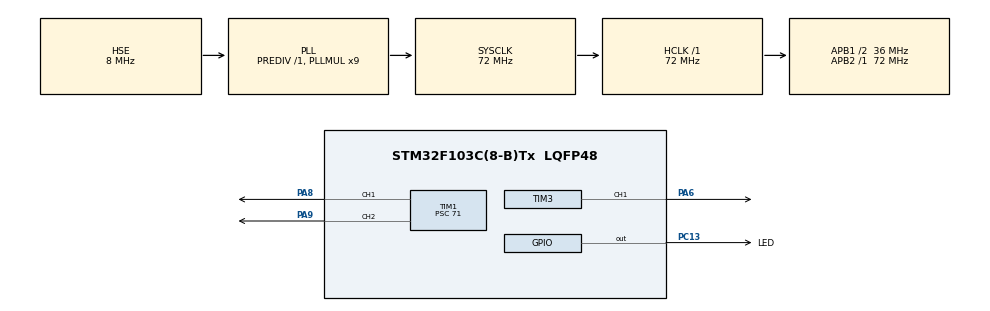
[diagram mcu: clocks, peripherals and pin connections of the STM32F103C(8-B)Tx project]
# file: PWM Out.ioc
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Mcu.Family=STM32F1
Mcu.Name=STM32F103C(8-B)Tx
Mcu.Package=LQFP48
NVIC.PriorityGroup=NVIC_PRIORITYGROUP_4
NVIC.TIM2_IRQn=true\:15\:0\:false\:false\:true\:false\:true\:true
NVIC.TimeBase=TIM2_IRQn
NVIC.TimeBaseIP=TIM2
PA6.Signal=S_TIM3_CH1
PA8.Signal=S_TIM1_CH1
PA9.Signal=S_TIM1_CH2
PC13-TAMPER-RTC.GPIO_Label=LED
PC13-TAMPER-RTC.Signal=GPIO_Output
PD0-OSC_IN.Mode=HSE-External-Oscillator
PD0-OSC_IN.Signal=RCC_OSC_IN
PD1-OSC_OUT.Mode=HSE-External-Oscillator
PD1-OSC_OUT.Signal=RCC_OSC_OUT
ProjectManager.HeapSize=0x200
ProjectManager.StackSize=0x400
ProjectManager.TargetToolchain=STM32CubeIDE
RCC.AHBFreq_Value=72000000
RCC.APB1CLKDivider=RCC_HCLK_DIV2
RCC.APB1Freq_Value=36000000
RCC.APB1TimFreq_Value=72000000
RCC.APB2Freq_Value=72000000
RCC.APB2TimFreq_Value=72000000
RCC.HCLKFreq_Value=72000000
RCC.PLLMUL=RCC_PLL_MUL9
RCC.PLLSourceVirtual=RCC_PLLSOURCE_HSE
RCC.SYSCLKFreq_VALUE=72000000
RCC.SYSCLKSource=RCC_SYSCLKSOURCE_PLLCLK
RCC.USBFreq_Value=72000000
SH.S_TIM1_CH1.0=TIM1_CH1,PWM Generation1 CH1
SH.S_TIM1_CH2.0=TIM1_CH2,PWM Generation2 CH2
SH.S_TIM3_CH1.0=TIM3_CH1,PWM Generation1 CH1
TIM1.Channel-PWM\ Generation1\ CH1=TIM_CHANNEL_1
TIM1.Channel-PWM\ Generation2\ CH2=TIM_CHANNEL_2
TIM1.Period=2499
TIM1.Prescaler=71
TIM1.Pulse-PWM\ Generation1\ CH1=1249
TIM1.Pulse-PWM\ Generation2\ CH2=600
TIM3.Channel-PWM\ Generation1\ CH1=TIM_CHANNEL_1
TIM3.Period=999
TIM3.Prescaler=71
TIM3.Pulse-PWM\ Generation1\ CH1=444
VP_SYS_VS_tim2.Mode=TIM2
board=custom

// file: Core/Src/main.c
/* USER CODE BEGIN Header */
/**
  ******************************************************************************
  * @file           : main.c
  * @brief          : Main program body
  ******************************************************************************
  * @attention
  *
  * Copyright (c) 2022 STMicroelectronics.
  * All rights reserved.
  *
  * This software is licensed under terms that can be found in the LICENSE file
  * in the root directory of this software component.
  * If no LICENSE file comes with this software, it is provided AS-IS.
  *
  ******************************************************************************
  */
/* USER CODE END Header */
#include "main.h"
#include "tim.h"
#include "gpio.h"

void SystemClock_Config(void);

int main(void)
{
  /* USER CODE BEGIN 1 */
	TIM_OC_InitTypeDef sConfigOC = {0},sConfigOC2 = {0};
	uint16_t dutycycle;
	int16_t offset=5;
	uint8_t updowm=1;
  /* USER CODE END 1 */

  /* MCU Configuration--------------------------------------------------------*/

  /* Reset of all peripherals, Initializes the Flash interface and the Systick. */
  HAL_Init();

  /* Configure the system clock */
  SystemClock_Config();

  /* Initialize all configured peripherals */
  MX_GPIO_Init();
  MX_TIM1_Init();
  MX_TIM3_Init();
  /* USER CODE BEGIN 2 */
  dutycycle = 50;
  sConfigOC.OCMode = TIM_OCMODE_PWM1;
  sConfigOC.Pulse = (2499*dutycycle)/100;
  sConfigOC.OCPolarity = TIM_OCPOLARITY_HIGH;
  sConfigOC.OCNPolarity = TIM_OCNPOLARITY_HIGH;
  sConfigOC.OCFastMode = TIM_OCFAST_DISABLE;
  sConfigOC.OCIdleState = TIM_OCIDLESTATE_RESET;
  sConfigOC.OCNIdleState = TIM_OCNIDLESTATE_RESET;

  sConfigOC2.OCMode = TIM_OCMODE_PWM1;
   sConfigOC2.Pulse = (2499*dutycycle)/100;
   sConfigOC2.OCPolarity = TIM_OCPOLARITY_HIGH;
   sConfigOC2.OCNPolarity = TIM_OCNPOLARITY_HIGH;
   sConfigOC2.OCFastMode = TIM_OCFAST_DISABLE;
   sConfigOC2.OCIdleState = TIM_OCIDLESTATE_RESET;
   sConfigOC2.OCNIdleState = TIM_OCNIDLESTATE_RESET;

  HAL_TIM_PWM_Start(&htim1, TIM_CHANNEL_1);
  HAL_TIM_PWM_Start(&htim1, TIM_CHANNEL_2);
  HAL_TIM_PWM_Start(&htim3, TIM_CHANNEL_1);
  /* USER CODE END 2 */

  /* Infinite loop */
  while (1)
  {

    /* USER CODE BEGIN 3 */
	  sConfigOC.Pulse = (2499*dutycycle)/100;
	  HAL_TIM_PWM_Stop(&htim1, TIM_CHANNEL_1);
	  HAL_TIM_PWM_ConfigChannel(&htim1, &sConfigOC, TIM_CHANNEL_1);
	  HAL_TIM_PWM_Start(&htim1, TIM_CHANNEL_1);

	  sConfigOC2.Pulse = (999*dutycycle)/100;
	  HAL_TIM_PWM_Stop(&htim3, TIM_CHANNEL_1);
	  HAL_TIM_PWM_ConfigChannel(&htim3, &sConfigOC2, TIM_CHANNEL_1);
	  HAL_TIM_PWM_Start(&htim3, TIM_CHANNEL_1);

	  dutycycle+=offset;
	  if(updowm){
		  if(dutycycle>100){
			  offset=-5;
			  updowm=0;
		  }
	  }
	  else{
		  if(dutycycle==0){
			  offset=5;
			  updowm=1;
		  }
	  }

	  HAL_Delay(200);
  }
  /* USER CODE END 3 */
}

void SystemClock_Config(void)
{
  RCC_OscInitTypeDef RCC_OscInitStruct = {0};
  RCC_ClkInitTypeDef RCC_ClkInitStruct = {0};

  /** Initializes the RCC Oscillators according to the specified parameters
  * in the RCC_OscInitTypeDef structure.
  */
  RCC_OscInitStruct.OscillatorType = RCC_OSCILLATORTYPE_HSE;
  RCC_OscInitStruct.HSEState = RCC_HSE_ON;
  RCC_OscInitStruct.HSEPredivValue = RCC_HSE_PREDIV_DIV1;
  RCC_OscInitStruct.HSIState = RCC_HSI_ON;
  RCC_OscInitStruct.PLL.PLLState = RCC_PLL_ON;
  RCC_OscInitStruct.PLL.PLLSource = RCC_PLLSOURCE_HSE;
  RCC_OscInitStruct.PLL.PLLMUL = RCC_PLL_MUL9;
  if (HAL_RCC_OscConfig(&RCC_OscInitStruct) != HAL_OK)
  {
    Error_Handler();
  }

  /** Initializes the CPU, AHB and APB buses clocks
  */
  RCC_ClkInitStruct.ClockType = RCC_CLOCKTYPE_HCLK|RCC_CLOCKTYPE_SYSCLK
                              |RCC_CLOCKTYPE_PCLK1|RCC_CLOCKTYPE_PCLK2;
  RCC_ClkInitStruct.SYSCLKSource = RCC_SYSCLKSOURCE_PLLCLK;
  RCC_ClkInitStruct.AHBCLKDivider = RCC_SYSCLK_DIV1;
  RCC_ClkInitStruct.APB1CLKDivider = RCC_HCLK_DIV2;
  RCC_ClkInitStruct.APB2CLKDivider = RCC_HCLK_DIV1;

  if (HAL_RCC_ClockConfig(&RCC_ClkInitStruct, FLASH_LATENCY_2) != HAL_OK)
  {
    Error_Handler();
  }
}

void HAL_TIM_PeriodElapsedCallback(TIM_HandleTypeDef *htim)
{
  if (htim->Instance == TIM2) {
    HAL_IncTick();
  }
}

void Error_Handler(void)
{
  __disable_irq();
  while (1)
  {
  }
}
